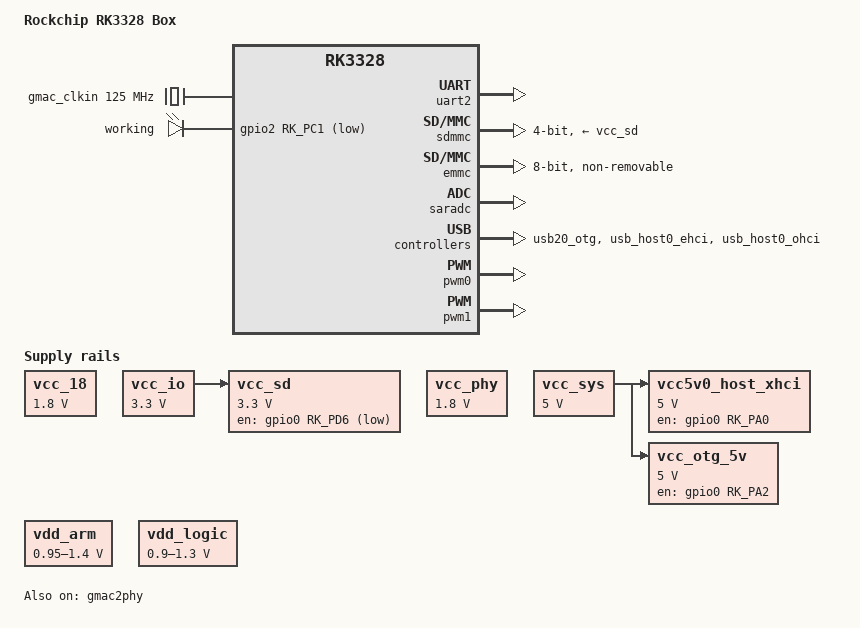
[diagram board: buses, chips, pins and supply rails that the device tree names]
/*
 * (C) Copyright 2016 Rockchip Electronics Co., Ltd
 *
 * SPDX-License-Identifier:     GPL-2.0+
 */

/dts-v1/;
#include "rk3328.dtsi"

/ {

	model = "Rockchip RK3328 Box";
        compatible = "rockchip,rk3328-box", "rockchip,rk3328";

	chosen {
		stdout-path = "serial2:1500000n8";
	};

	gmac_clkin: external-gmac-clock {
		compatible = "fixed-clock";
		clock-frequency = <125000000>;
		clock-output-names = "gmac_clkin";
		#clock-cells = <0>;
	};

	regulators {
		compatible = "simple-bus";
		#address-cells = <0x01>;
		#size-cells = <0x00>;

		vcc_18: regulator@0 {
			compatible = "regulator-fixed";
			regulator-name = "vccio_1v8";
			regulator-min-microvolt = <1800000>;
			regulator-max-microvolt = <1800000>;
			regulator-always-on;
		};

		vcc_io: regulator@1 {
			compatible = "regulator-fixed";
			regulator-name = "vccio_3v3";
			regulator-min-microvolt = <3300000>;
			regulator-max-microvolt = <3300000>;
			regulator-always-on;
		};
	};

	vcc_phy: vcc-phy-regulator {
		compatible = "regulator-fixed";
		regulator-name = "vcc_phy";
		regulator-min-microvolt = <1800000>;
		regulator-max-microvolt = <1800000>;
		regulator-always-on;
		regulator-boot-on;
	};

	vcc_sys: vcc-sys {
		compatible = "regulator-fixed";
		regulator-name = "vcc_sys";
		regulator-always-on;
		regulator-boot-on;
		regulator-min-microvolt = <5000000>;
		regulator-max-microvolt = <5000000>;
	};

	vcc_sd: sdmmc-regulator {
		compatible = "regulator-fixed";
		gpio = <&gpio0 RK_PD6 GPIO_ACTIVE_LOW>;
		pinctrl-names = "default";
		pinctrl-0 = <&sdmmc0m1_gpio>;
		regulator-name = "vcc_sd";
		regulator-always-on;
		regulator-boot-on;
		regulator-min-microvolt = <3300000>;
		regulator-max-microvolt = <3300000>;
		vin-supply = <&vcc_io>;

	};

	/*
	 * USB3 vbus
	 */
	vcc5v0_host_xhci: vcc5v0-host-xhci-drv {
		compatible = "regulator-fixed";
		enable-active-high;
		gpio = <&gpio0 RK_PA0 GPIO_ACTIVE_HIGH>;
		pinctrl-names = "default";
		pinctrl-0 = <&usb30_host_drv>;
		regulator-name = "vcc5v0_host_xhci";
		regulator-always-on;
		regulator-min-microvolt = <5000000>;
		regulator-max-microvolt = <5000000>;
		vin-supply = <&vcc_sys>;
	};

	/*
	 * USB2 OTG vbus
	 	*/
	vcc_otg_5v: vcc-otg-5v {
		compatible = "regulator-fixed";
		enable-active-high;
		gpio = <&gpio0 RK_PA2 GPIO_ACTIVE_HIGH>;
		pinctrl-names = "default";
		pinctrl-0 = <&usb20_host_drv>;
		regulator-name = "vcc_otg_5v";
		regulator-always-on;
		regulator-min-microvolt = <5000000>;
		regulator-max-microvolt = <5000000>;
		vin-supply = <&vcc_sys>;
	};

	vdd_arm: vdd-arm {
		compatible = "pwm-regulator";
		pwms = <&pwm0 0 5000 1>;
		regulator-name = "vdd_arm";
		regulator-init-microvolt = <1200000>;
		regulator-min-microvolt = <950000>;
		regulator-max-microvolt = <1400000>;
		regulator-ramp-delay = <12500>;
		regulator-settling-time-up-us = <250>;
		regulator-always-on;
		regulator-boot-on;
	};

	vdd_logic: vdd-log {
		compatible = "pwm-regulator";
		pwms = <&pwm1 0 5000 1>;
		regulator-name = "vdd_log";
		regulator-init-microvolt = <1100000>;
		regulator-min-microvolt = <900000>;
		regulator-max-microvolt = <1300000>;
		regulator-ramp-delay = <12500>;
		regulator-settling-time-up-us = <250>;
		regulator-always-on;
		regulator-boot-on;
	};

	leds {
		compatible = "gpio-leds";

		working {
			gpios = <&gpio2 RK_PC1 GPIO_ACTIVE_LOW>;
			linux,default-trigger = "default-on";
			default-state = "on";
		};

	};

};

&cpu0 {
	cpu-supply = <&vdd_arm>;
};

&cpu1 {
	cpu-supply = <&vdd_arm>;
};

&cpu2 {
	cpu-supply = <&vdd_arm>;
};

&cpu3 {
	cpu-supply = <&vdd_arm>;
};

&uart2 {
	status = "okay";
};

&sdmmc {
	bus-width = <4>;
	cap-mmc-highspeed;
	cap-sd-highspeed;
	card-detect-delay = <200>;
	disable-wp;
	num-slots = <1>;
	pinctrl-names = "default";
	pinctrl-0 = <&sdmmc0_clk>, <&sdmmc0_cmd>, <&sdmmc0_dectn>, <&sdmmc0_bus4>;
	vmmc-supply = <&vcc_sd>;
	status = "okay";
};

&emmc {
	bus-width = <8>;
	cap-mmc-highspeed;
	supports-emmc;
	disable-wp;
	non-removable;
	num-slots = <1>;
	pinctrl-names = "default";
	pinctrl-0 = <&emmc_clk &emmc_cmd &emmc_bus8>;
	status = "okay";
};

&saradc {
	status = "okay";
};

&uart2 {
	status = "okay";
};

&usb20_otg {
	status = "okay";
};

&usb_host0_ehci {
	status = "okay";
};

&usb_host0_ohci {
	status = "okay";
};

&pinctrl {

	pinctrl-names = "default";
	pinctrl-0 = <&clk_32k_out>;

	clk_32k {
		clk_32k_out: clk-32k-out {
			rockchip,pins = <1 RK_PD4 RK_FUNC_1 &pcfg_pull_none>;
		};
	};

	usb2 {
		usb20_host_drv: usb20-host-drv {
			rockchip,pins = <0 RK_PA2 RK_FUNC_GPIO &pcfg_pull_none>;
		};
	};

	usb3 {
		usb30_host_drv: usb30-host-drv {
			rockchip,pins = <0 RK_PA0 RK_FUNC_GPIO &pcfg_pull_none>;
		};
	};
};

&pwm0 {
	status = "okay";
};

&pwm1 {
	status = "okay";
};

&gmac2phy {
       phy-supply = <&vcc_phy>;

       phy-mode = "rmii";

       clock_in_out = "output";
       assigned-clocks = <&cru SCLK_MAC2PHY>;
       assigned-clock-rate = <50000000>;
       assigned-clock-parents = <&cru SCLK_MAC2PHY_SRC>;
       tx_delay = <0x30>;
       rx_delay = <0x10>;
       u-boot,dm-pre-reloc;

       status = "okay";
};

